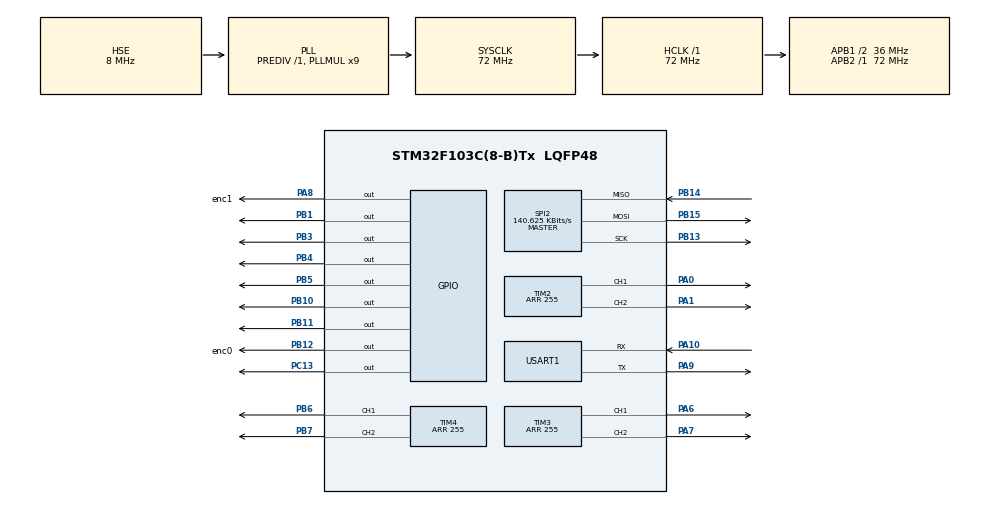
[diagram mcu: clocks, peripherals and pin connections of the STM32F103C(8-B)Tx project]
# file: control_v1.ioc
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Dma.Request0=USART1_RX
Dma.Request1=USART1_TX
Dma.USART1_RX.0.Direction=DMA_PERIPH_TO_MEMORY
Dma.USART1_RX.0.Instance=DMA1_Channel5
Dma.USART1_RX.0.MemDataAlignment=DMA_MDATAALIGN_BYTE
Dma.USART1_RX.0.MemInc=DMA_MINC_ENABLE
Dma.USART1_RX.0.Mode=DMA_CIRCULAR
Dma.USART1_RX.0.PeriphDataAlignment=DMA_PDATAALIGN_BYTE
Dma.USART1_RX.0.PeriphInc=DMA_PINC_DISABLE
Dma.USART1_RX.0.Priority=DMA_PRIORITY_LOW
Dma.USART1_TX.1.Direction=DMA_MEMORY_TO_PERIPH
Dma.USART1_TX.1.Instance=DMA1_Channel4
Dma.USART1_TX.1.MemDataAlignment=DMA_MDATAALIGN_BYTE
Dma.USART1_TX.1.MemInc=DMA_MINC_ENABLE
Dma.USART1_TX.1.Mode=DMA_CIRCULAR
Dma.USART1_TX.1.PeriphDataAlignment=DMA_PDATAALIGN_BYTE
Dma.USART1_TX.1.PeriphInc=DMA_PINC_DISABLE
Dma.USART1_TX.1.Priority=DMA_PRIORITY_LOW
Mcu.Family=STM32F1
Mcu.Name=STM32F103C(8-B)Tx
Mcu.Package=LQFP48
NVIC.DMA1_Channel4_IRQn=true\:0\:0\:false\:false\:true\:false\:true\:true
NVIC.DMA1_Channel5_IRQn=true\:0\:0\:false\:false\:true\:false\:true\:true
NVIC.PriorityGroup=NVIC_PRIORITYGROUP_4
NVIC.USART1_IRQn=true\:0\:0\:false\:false\:true\:true\:true\:true
PA0-WKUP.Signal=S_TIM2_CH1_ETR
PA1.Signal=S_TIM2_CH2
PA10.Mode=Asynchronous
PA10.Signal=USART1_RX
PA13.Mode=Serial_Wire
PA13.Signal=SYS_JTMS-SWDIO
PA14.Mode=Serial_Wire
PA14.Signal=SYS_JTCK-SWCLK
PA6.Signal=S_TIM3_CH1
PA7.Signal=S_TIM3_CH2
PA8.GPIO_Label=enc1
PA8.Signal=GPIO_Output
PA9.Mode=Asynchronous
PA9.Signal=USART1_TX
PB1.Signal=GPIO_Output
PB10.Signal=GPIO_Output
PB11.Signal=GPIO_Output
PB12.GPIO_Label=enc0
PB12.Signal=GPIO_Output
PB13.Mode=Full_Duplex_Master
PB13.Signal=SPI2_SCK
PB14.Mode=Full_Duplex_Master
PB14.Signal=SPI2_MISO
PB15.Mode=Full_Duplex_Master
PB15.Signal=SPI2_MOSI
PB3.Signal=GPIO_Output
PB4.Signal=GPIO_Output
PB5.Signal=GPIO_Output
PB6.Signal=S_TIM4_CH1
PB7.Signal=S_TIM4_CH2
PC13-TAMPER-RTC.Signal=GPIO_Output
PD0-OSC_IN.Mode=HSE-External-Oscillator
PD0-OSC_IN.Signal=RCC_OSC_IN
PD1-OSC_OUT.Mode=HSE-External-Oscillator
PD1-OSC_OUT.Signal=RCC_OSC_OUT
ProjectManager.HeapSize=0x200
ProjectManager.StackSize=0x400
ProjectManager.TargetToolchain=STM32CubeIDE
RCC.AHBFreq_Value=72000000
RCC.APB1CLKDivider=RCC_HCLK_DIV2
RCC.APB1Freq_Value=36000000
RCC.APB1TimFreq_Value=72000000
RCC.APB2Freq_Value=72000000
RCC.APB2TimFreq_Value=72000000
RCC.HCLKFreq_Value=72000000
RCC.PLLMUL=RCC_PLL_MUL9
RCC.PLLSourceVirtual=RCC_PLLSOURCE_HSE
RCC.SYSCLKFreq_VALUE=72000000
RCC.SYSCLKSource=RCC_SYSCLKSOURCE_PLLCLK
RCC.USBFreq_Value=72000000
SH.S_TIM2_CH1_ETR.0=TIM2_CH1,PWM Generation1 CH1
SH.S_TIM2_CH2.0=TIM2_CH2,PWM Generation2 CH2
SH.S_TIM3_CH1.0=TIM3_CH1,PWM Generation1 CH1
SH.S_TIM3_CH2.0=TIM3_CH2,PWM Generation2 CH2
SH.S_TIM4_CH1.0=TIM4_CH1,PWM Generation1 CH1
SH.S_TIM4_CH2.0=TIM4_CH2,PWM Generation2 CH2
SPI2.BaudRatePrescaler=SPI_BAUDRATEPRESCALER_256
SPI2.CalculateBaudRate=140.625 KBits/s
SPI2.DataSize=SPI_DATASIZE_8BIT
SPI2.Direction=SPI_DIRECTION_2LINES
SPI2.Mode=SPI_MODE_MASTER
SPI2.VirtualType=VM_MASTER
TIM2.Channel-PWM\ Generation1\ CH1=TIM_CHANNEL_1
TIM2.Channel-PWM\ Generation2\ CH2=TIM_CHANNEL_2
TIM2.Period=255
TIM3.Channel-PWM\ Generation1\ CH1=TIM_CHANNEL_1
TIM3.Channel-PWM\ Generation2\ CH2=TIM_CHANNEL_2
TIM3.Period=255
TIM4.Channel-PWM\ Generation1\ CH1=TIM_CHANNEL_1
TIM4.Channel-PWM\ Generation2\ CH2=TIM_CHANNEL_2
TIM4.Period=255
USART1.VirtualMode=VM_ASYNC
VP_TIM2_VS_ClockSourceINT.Mode=Internal
VP_TIM3_VS_ClockSourceINT.Mode=Internal
VP_TIM4_VS_ClockSourceINT.Mode=Internal
board=custom

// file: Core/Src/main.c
/* USER CODE BEGIN Header */
/**
  ******************************************************************************
  * @file           : main.c
  * @brief          : Main program body
  ******************************************************************************
  * @attention
  *
  * Copyright (c) 2026 STMicroelectronics.
  * All rights reserved.
  *
  * This software is licensed under terms that can be found in the LICENSE file
  * in the root directory of this software component.
  * If no LICENSE file comes with this software, it is provided AS-IS.
  *
  ******************************************************************************
  */
/* USER CODE END Header */
#include "main.h"

/* USER CODE BEGIN Includes */
#include <stdbool.h>

/* USER CODE END Includes */

SPI_HandleTypeDef hspi2;

TIM_HandleTypeDef htim2;
TIM_HandleTypeDef htim3;
TIM_HandleTypeDef htim4;

UART_HandleTypeDef huart1;
DMA_HandleTypeDef hdma_usart1_rx;
DMA_HandleTypeDef hdma_usart1_tx;

/* USER CODE BEGIN PV */
volatile uint8_t enc0Buffer[6] = {0};
volatile uint8_t enc1Buffer[6] = {0};

volatile uint8_t SPI_rxBuffer[6] = {0};

uint8_t dummy = 0xFF;

volatile uint8_t UART1_rxBuffer[4] = {0};

/* USER CODE END PV */

void SystemClock_Config(void);
static void MX_GPIO_Init(void);
static void MX_DMA_Init(void);
static void MX_SPI2_Init(void);
static void MX_TIM2_Init(void);
static void MX_TIM3_Init(void);
static void MX_TIM4_Init(void);
static void MX_USART1_UART_Init(void);

/* USER CODE BEGIN 0 */
void setMotor(uint8_t joystick[2]) {
    int x = (int)joystick[0] - 127;
    int y = (int)joystick[1] - 127;

    int speed;

    if (abs(y) > abs(x)) {
        // forward / backward
        speed = 2 * abs(y);

        if (y > 0) {
            // FORWARD
            HAL_GPIO_WritePin(GPIOB, GPIO_PIN_3, GPIO_PIN_RESET);
            HAL_GPIO_WritePin(GPIOB, GPIO_PIN_4, GPIO_PIN_RESET);
            HAL_GPIO_WritePin(GPIOB, GPIO_PIN_5, GPIO_PIN_RESET);

            HAL_GPIO_WritePin(GPIOB, GPIO_PIN_1, GPIO_PIN_RESET);
            HAL_GPIO_WritePin(GPIOB, GPIO_PIN_10, GPIO_PIN_RESET);
            HAL_GPIO_WritePin(GPIOB, GPIO_PIN_11, GPIO_PIN_RESET);
        } else {
            // BACKWARD
            HAL_GPIO_WritePin(GPIOB, GPIO_PIN_3, GPIO_PIN_SET);
            HAL_GPIO_WritePin(GPIOB, GPIO_PIN_4, GPIO_PIN_SET);
            HAL_GPIO_WritePin(GPIOB, GPIO_PIN_5, GPIO_PIN_SET);

            HAL_GPIO_WritePin(GPIOB, GPIO_PIN_1, GPIO_PIN_SET);
            HAL_GPIO_WritePin(GPIOB, GPIO_PIN_10, GPIO_PIN_SET);
            HAL_GPIO_WritePin(GPIOB, GPIO_PIN_11, GPIO_PIN_SET);
        }

    } else if (abs(x) > abs(y)) {
        // rotation
        speed = 2 * abs(x);

        if (x > 0) {
            // rotate right
            HAL_GPIO_WritePin(GPIOB, GPIO_PIN_3, GPIO_PIN_RESET);
            HAL_GPIO_WritePin(GPIOB, GPIO_PIN_4, GPIO_PIN_RESET);
            HAL_GPIO_WritePin(GPIOB, GPIO_PIN_5, GPIO_PIN_RESET);

            HAL_GPIO_WritePin(GPIOB, GPIO_PIN_1, GPIO_PIN_SET);
            HAL_GPIO_WritePin(GPIOB, GPIO_PIN_10, GPIO_PIN_SET);
            HAL_GPIO_WritePin(GPIOB, GPIO_PIN_11, GPIO_PIN_SET);
        } else {
            // rotate left
            HAL_GPIO_WritePin(GPIOB, GPIO_PIN_3, GPIO_PIN_SET);
            HAL_GPIO_WritePin(GPIOB, GPIO_PIN_4, GPIO_PIN_SET);
            HAL_GPIO_WritePin(GPIOB, GPIO_PIN_5, GPIO_PIN_SET);

            HAL_GPIO_WritePin(GPIOB, GPIO_PIN_1, GPIO_PIN_RESET);
            HAL_GPIO_WritePin(GPIOB, GPIO_PIN_10, GPIO_PIN_RESET);
            HAL_GPIO_WritePin(GPIOB, GPIO_PIN_11, GPIO_PIN_RESET);
        }

    } else {
        speed = 0;
    }

    // Left motors (CCR1)
    TIM2->CCR1 = speed;
    TIM3->CCR1 = speed;
    TIM4->CCR1 = speed;

    // Right motors (CCR2)
    TIM2->CCR2 = speed;
    TIM3->CCR2 = speed;
    TIM4->CCR2 = speed;
}

volatile uint8_t left_pwm;  // 0–255
volatile uint8_t left_dir;  // 0 = forward, 1 = backward
volatile uint8_t right_pwm;  // 0–255
volatile uint8_t right_dir;  // 0 = forward, 1 = backward

void setMotor_direct(volatile uint8_t cmd[4]) {

    left_pwm  = cmd[0];  // 0–255
    left_dir  = cmd[1];  // 0 = forward, 1 = backward
    right_pwm = cmd[2];  // 0–255
    right_dir = cmd[3];  // 0 = forward, 1 = backward

    if (left_dir == 0) {
        HAL_GPIO_WritePin(GPIOB, GPIO_PIN_3, GPIO_PIN_RESET);
        HAL_GPIO_WritePin(GPIOB, GPIO_PIN_4, GPIO_PIN_RESET);
        HAL_GPIO_WritePin(GPIOB, GPIO_PIN_5, GPIO_PIN_RESET);
    } else {
        HAL_GPIO_WritePin(GPIOB, GPIO_PIN_3, GPIO_PIN_SET);
        HAL_GPIO_WritePin(GPIOB, GPIO_PIN_4, GPIO_PIN_SET);
        HAL_GPIO_WritePin(GPIOB, GPIO_PIN_5, GPIO_PIN_SET);
    }

    /* RIGHT SIDE DIRECTION (same as setMotor) */
    if (right_dir == 1) {
        HAL_GPIO_WritePin(GPIOB, GPIO_PIN_1, GPIO_PIN_RESET);
        HAL_GPIO_WritePin(GPIOB, GPIO_PIN_10, GPIO_PIN_RESET);
        HAL_GPIO_WritePin(GPIOB, GPIO_PIN_11, GPIO_PIN_RESET);
    } else {
        HAL_GPIO_WritePin(GPIOB, GPIO_PIN_1, GPIO_PIN_SET);
        HAL_GPIO_WritePin(GPIOB, GPIO_PIN_10, GPIO_PIN_SET);
        HAL_GPIO_WritePin(GPIOB, GPIO_PIN_11, GPIO_PIN_SET);
    }

    // Left motors (CCR1)
    TIM2->CCR1 = right_pwm;
    TIM3->CCR1 = right_pwm;
    TIM4->CCR1 = right_pwm;

    // Right motors (CCR2)
    TIM2->CCR2 = left_pwm;
    TIM3->CCR2 = left_pwm;
    TIM4->CCR2 = left_pwm;
}

bool encBuffer_flag = 0;

void HAL_SPI_TxRxCpltCallback(SPI_HandleTypeDef *hspi) {

	if (encBuffer_flag) {
		HAL_GPIO_WritePin(enc0_GPIO_Port, enc0_Pin, GPIO_PIN_RESET);
		memcpy(enc0Buffer, SPI_rxBuffer, sizeof(SPI_rxBuffer));
		HAL_GPIO_WritePin(enc0_GPIO_Port, enc0_GPIO_Port, GPIO_PIN_SET);
		encBuffer_flag = 0;
	} else {

		HAL_GPIO_WritePin(enc1_GPIO_Port, enc1_Pin, GPIO_PIN_RESET);
		memcpy(enc1Buffer, SPI_rxBuffer, sizeof(SPI_rxBuffer));
		HAL_GPIO_WritePin(enc1_GPIO_Port, enc1_GPIO_Port, GPIO_PIN_SET);
		encBuffer_flag = 1;
	}

	HAL_SPI_TransmitReceive_DMA(&hspi2, &dummy, SPI_rxBuffer, sizeof(SPI_rxBuffer));
}

/* USER CODE END 0 */

int main(void)
{

  /* MCU Configuration--------------------------------------------------------*/

  /* Reset of all peripherals, Initializes the Flash interface and the Systick. */
  HAL_Init();

  /* Configure the system clock */
  SystemClock_Config();

  /* Initialize all configured peripherals */
  MX_GPIO_Init();
  MX_DMA_Init();
  MX_SPI2_Init();
  MX_TIM2_Init();
  MX_TIM3_Init();
  MX_TIM4_Init();
  MX_USART1_UART_Init();
  /* USER CODE BEGIN 2 */
  HAL_UART_Receive_DMA(&huart1, UART1_rxBuffer, sizeof(UART1_rxBuffer));
  HAL_TIM_PWM_Start(&htim2, TIM_CHANNEL_1);
  HAL_TIM_PWM_Start(&htim2, TIM_CHANNEL_2);

  HAL_TIM_PWM_Start(&htim3, TIM_CHANNEL_1);
  HAL_TIM_PWM_Start(&htim3, TIM_CHANNEL_2);

  HAL_TIM_PWM_Start(&htim4, TIM_CHANNEL_1);
  HAL_TIM_PWM_Start(&htim4, TIM_CHANNEL_2);

//  HAL_GPIO_WritePin(enc0_GPIO_port, enc0_GPIO_pin, GPIO_PIN_RESET);
//  HAL_GPIO_WritePin(enc1_GPIO_port, enc1_GPIO_pin, GPIO_PIN_SET);

  HAL_GPIO_WritePin(GPIOC, GPIO_PIN_13, GPIO_PIN_RESET);

//  HAL_SPI_TxRxCpltCallback(&hspi2);

//  HAL_SPI_TransmitReceive_DMA(&hspi2, &dummy, SPI_rxBuffer, sizeof(SPI_rxBuffer));

  /* USER CODE END 2 */

  /* Infinite loop */
  while (1)
  {

    /* USER CODE BEGIN 3 */

	  setMotor_direct(UART1_rxBuffer);
  }
  /* USER CODE END 3 */
}

void SystemClock_Config(void)
{
  RCC_OscInitTypeDef RCC_OscInitStruct = {0};
  RCC_ClkInitTypeDef RCC_ClkInitStruct = {0};

  /** Initializes the RCC Oscillators according to the specified parameters
  * in the RCC_OscInitTypeDef structure.
  */
  RCC_OscInitStruct.OscillatorType = RCC_OSCILLATORTYPE_HSE;
  RCC_OscInitStruct.HSEState = RCC_HSE_ON;
  RCC_OscInitStruct.HSEPredivValue = RCC_HSE_PREDIV_DIV1;
  RCC_OscInitStruct.HSIState = RCC_HSI_ON;
  RCC_OscInitStruct.PLL.PLLState = RCC_PLL_ON;
  RCC_OscInitStruct.PLL.PLLSource = RCC_PLLSOURCE_HSE;
  RCC_OscInitStruct.PLL.PLLMUL = RCC_PLL_MUL9;
  if (HAL_RCC_OscConfig(&RCC_OscInitStruct) != HAL_OK)
  {
    Error_Handler();
  }

  /** Initializes the CPU, AHB and APB buses clocks
  */
  RCC_ClkInitStruct.ClockType = RCC_CLOCKTYPE_HCLK|RCC_CLOCKTYPE_SYSCLK
                              |RCC_CLOCKTYPE_PCLK1|RCC_CLOCKTYPE_PCLK2;
  RCC_ClkInitStruct.SYSCLKSource = RCC_SYSCLKSOURCE_PLLCLK;
  RCC_ClkInitStruct.AHBCLKDivider = RCC_SYSCLK_DIV1;
  RCC_ClkInitStruct.APB1CLKDivider = RCC_HCLK_DIV2;
  RCC_ClkInitStruct.APB2CLKDivider = RCC_HCLK_DIV1;

  if (HAL_RCC_ClockConfig(&RCC_ClkInitStruct, FLASH_LATENCY_2) != HAL_OK)
  {
    Error_Handler();
  }
}

static void MX_SPI2_Init(void)
{

  /* SPI2 parameter configuration*/
  hspi2.Instance = SPI2;
  hspi2.Init.Mode = SPI_MODE_MASTER;
  hspi2.Init.Direction = SPI_DIRECTION_2LINES;
  hspi2.Init.DataSize = SPI_DATASIZE_8BIT;
  hspi2.Init.CLKPolarity = SPI_POLARITY_LOW;
  hspi2.Init.CLKPhase = SPI_PHASE_1EDGE;
  hspi2.Init.NSS = SPI_NSS_SOFT;
  hspi2.Init.BaudRatePrescaler = SPI_BAUDRATEPRESCALER_256;
  hspi2.Init.FirstBit = SPI_FIRSTBIT_MSB;
  hspi2.Init.TIMode = SPI_TIMODE_DISABLE;
  hspi2.Init.CRCCalculation = SPI_CRCCALCULATION_DISABLE;
  hspi2.Init.CRCPolynomial = 10;
  if (HAL_SPI_Init(&hspi2) != HAL_OK)
  {
    Error_Handler();
  }

}

static void MX_TIM2_Init(void)
{

  TIM_ClockConfigTypeDef sClockSourceConfig = {0};
  TIM_MasterConfigTypeDef sMasterConfig = {0};
  TIM_OC_InitTypeDef sConfigOC = {0};

  htim2.Instance = TIM2;
  htim2.Init.Prescaler = 0;
  htim2.Init.CounterMode = TIM_COUNTERMODE_UP;
  htim2.Init.Period = 255;
  htim2.Init.ClockDivision = TIM_CLOCKDIVISION_DIV1;
  htim2.Init.AutoReloadPreload = TIM_AUTORELOAD_PRELOAD_DISABLE;
  if (HAL_TIM_Base_Init(&htim2) != HAL_OK)
  {
    Error_Handler();
  }
  sClockSourceConfig.ClockSource = TIM_CLOCKSOURCE_INTERNAL;
  if (HAL_TIM_ConfigClockSource(&htim2, &sClockSourceConfig) != HAL_OK)
  {
    Error_Handler();
  }
  if (HAL_TIM_PWM_Init(&htim2) != HAL_OK)
  {
    Error_Handler();
  }
  sMasterConfig.MasterOutputTrigger = TIM_TRGO_RESET;
  sMasterConfig.MasterSlaveMode = TIM_MASTERSLAVEMODE_DISABLE;
  if (HAL_TIMEx_MasterConfigSynchronization(&htim2, &sMasterConfig) != HAL_OK)
  {
    Error_Handler();
  }
  sConfigOC.OCMode = TIM_OCMODE_PWM1;
  sConfigOC.Pulse = 0;
  sConfigOC.OCPolarity = TIM_OCPOLARITY_HIGH;
  sConfigOC.OCFastMode = TIM_OCFAST_DISABLE;
  if (HAL_TIM_PWM_ConfigChannel(&htim2, &sConfigOC, TIM_CHANNEL_1) != HAL_OK)
  {
    Error_Handler();
  }
  if (HAL_TIM_PWM_ConfigChannel(&htim2, &sConfigOC, TIM_CHANNEL_2) != HAL_OK)
  {
    Error_Handler();
  }
  HAL_TIM_MspPostInit(&htim2);

}

static void MX_TIM3_Init(void)
{

  TIM_ClockConfigTypeDef sClockSourceConfig = {0};
  TIM_MasterConfigTypeDef sMasterConfig = {0};
  TIM_OC_InitTypeDef sConfigOC = {0};

  htim3.Instance = TIM3;
  htim3.Init.Prescaler = 0;
  htim3.Init.CounterMode = TIM_COUNTERMODE_UP;
  htim3.Init.Period = 255;
  htim3.Init.ClockDivision = TIM_CLOCKDIVISION_DIV1;
  htim3.Init.AutoReloadPreload = TIM_AUTORELOAD_PRELOAD_DISABLE;
  if (HAL_TIM_Base_Init(&htim3) != HAL_OK)
  {
    Error_Handler();
  }
  sClockSourceConfig.ClockSource = TIM_CLOCKSOURCE_INTERNAL;
  if (HAL_TIM_ConfigClockSource(&htim3, &sClockSourceConfig) != HAL_OK)
  {
    Error_Handler();
  }
  if (HAL_TIM_PWM_Init(&htim3) != HAL_OK)
  {
    Error_Handler();
  }
  sMasterConfig.MasterOutputTrigger = TIM_TRGO_RESET;
  sMasterConfig.MasterSlaveMode = TIM_MASTERSLAVEMODE_DISABLE;
  if (HAL_TIMEx_MasterConfigSynchronization(&htim3, &sMasterConfig) != HAL_OK)
  {
    Error_Handler();
  }
  sConfigOC.OCMode = TIM_OCMODE_PWM1;
  sConfigOC.Pulse = 0;
  sConfigOC.OCPolarity = TIM_OCPOLARITY_HIGH;
  sConfigOC.OCFastMode = TIM_OCFAST_DISABLE;
  if (HAL_TIM_PWM_ConfigChannel(&htim3, &sConfigOC, TIM_CHANNEL_1) != HAL_OK)
  {
    Error_Handler();
  }
  if (HAL_TIM_PWM_ConfigChannel(&htim3, &sConfigOC, TIM_CHANNEL_2) != HAL_OK)
  {
    Error_Handler();
  }
  HAL_TIM_MspPostInit(&htim3);

}

static void MX_TIM4_Init(void)
{

  TIM_ClockConfigTypeDef sClockSourceConfig = {0};
  TIM_MasterConfigTypeDef sMasterConfig = {0};
  TIM_OC_InitTypeDef sConfigOC = {0};

  htim4.Instance = TIM4;
  htim4.Init.Prescaler = 0;
  htim4.Init.CounterMode = TIM_COUNTERMODE_UP;
  htim4.Init.Period = 255;
  htim4.Init.ClockDivision = TIM_CLOCKDIVISION_DIV1;
  htim4.Init.AutoReloadPreload = TIM_AUTORELOAD_PRELOAD_DISABLE;
  if (HAL_TIM_Base_Init(&htim4) != HAL_OK)
  {
    Error_Handler();
  }
  sClockSourceConfig.ClockSource = TIM_CLOCKSOURCE_INTERNAL;
  if (HAL_TIM_ConfigClockSource(&htim4, &sClockSourceConfig) != HAL_OK)
  {
    Error_Handler();
  }
  if (HAL_TIM_PWM_Init(&htim4) != HAL_OK)
  {
    Error_Handler();
  }
  sMasterConfig.MasterOutputTrigger = TIM_TRGO_RESET;
  sMasterConfig.MasterSlaveMode = TIM_MASTERSLAVEMODE_DISABLE;
  if (HAL_TIMEx_MasterConfigSynchronization(&htim4, &sMasterConfig) != HAL_OK)
  {
    Error_Handler();
  }
  sConfigOC.OCMode = TIM_OCMODE_PWM1;
  sConfigOC.Pulse = 0;
  sConfigOC.OCPolarity = TIM_OCPOLARITY_HIGH;
  sConfigOC.OCFastMode = TIM_OCFAST_DISABLE;
  if (HAL_TIM_PWM_ConfigChannel(&htim4, &sConfigOC, TIM_CHANNEL_1) != HAL_OK)
  {
    Error_Handler();
  }
  if (HAL_TIM_PWM_ConfigChannel(&htim4, &sConfigOC, TIM_CHANNEL_2) != HAL_OK)
  {
    Error_Handler();
  }
  HAL_TIM_MspPostInit(&htim4);

}

static void MX_USART1_UART_Init(void)
{

  huart1.Instance = USART1;
  huart1.Init.BaudRate = 115200;
  huart1.Init.WordLength = UART_WORDLENGTH_8B;
  huart1.Init.StopBits = UART_STOPBITS_1;
  huart1.Init.Parity = UART_PARITY_NONE;
  huart1.Init.Mode = UART_MODE_TX_RX;
  huart1.Init.HwFlowCtl = UART_HWCONTROL_NONE;
  huart1.Init.OverSampling = UART_OVERSAMPLING_16;
  if (HAL_UART_Init(&huart1) != HAL_OK)
  {
    Error_Handler();
  }

}

static void MX_DMA_Init(void)
{

  /* DMA controller clock enable */
  __HAL_RCC_DMA1_CLK_ENABLE();

  /* DMA interrupt init */
  /* DMA1_Channel4_IRQn interrupt configuration */
  HAL_NVIC_SetPriority(DMA1_Channel4_IRQn, 0, 0);
  HAL_NVIC_EnableIRQ(DMA1_Channel4_IRQn);
  /* DMA1_Channel5_IRQn interrupt configuration */
  HAL_NVIC_SetPriority(DMA1_Channel5_IRQn, 0, 0);
  HAL_NVIC_EnableIRQ(DMA1_Channel5_IRQn);

}

static void MX_GPIO_Init(void)
{
  GPIO_InitTypeDef GPIO_InitStruct = {0};

  /* GPIO Ports Clock Enable */
  __HAL_RCC_GPIOC_CLK_ENABLE();
  __HAL_RCC_GPIOD_CLK_ENABLE();
  __HAL_RCC_GPIOA_CLK_ENABLE();
  __HAL_RCC_GPIOB_CLK_ENABLE();

  /*Configure GPIO pin Output Level */
  HAL_GPIO_WritePin(GPIOC, GPIO_PIN_13, GPIO_PIN_RESET);

  /*Configure GPIO pin Output Level */
  HAL_GPIO_WritePin(GPIOB, GPIO_PIN_1|GPIO_PIN_10|GPIO_PIN_11|enc0_Pin
                          |GPIO_PIN_3|GPIO_PIN_4|GPIO_PIN_5, GPIO_PIN_RESET);

  /*Configure GPIO pin Output Level */
  HAL_GPIO_WritePin(enc1_GPIO_Port, enc1_Pin, GPIO_PIN_RESET);

  /*Configure GPIO pin : PC13 */
  GPIO_InitStruct.Pin = GPIO_PIN_13;
  GPIO_InitStruct.Mode = GPIO_MODE_OUTPUT_PP;
  GPIO_InitStruct.Pull = GPIO_NOPULL;
  GPIO_InitStruct.Speed = GPIO_SPEED_FREQ_LOW;
  HAL_GPIO_Init(GPIOC, &GPIO_InitStruct);

  /*Configure GPIO pins : PB1 PB10 PB11 enc0_Pin
                           PB3 PB4 PB5 */
  GPIO_InitStruct.Pin = GPIO_PIN_1|GPIO_PIN_10|GPIO_PIN_11|enc0_Pin
                          |GPIO_PIN_3|GPIO_PIN_4|GPIO_PIN_5;
  GPIO_InitStruct.Mode = GPIO_MODE_OUTPUT_PP;
  GPIO_InitStruct.Pull = GPIO_NOPULL;
  GPIO_InitStruct.Speed = GPIO_SPEED_FREQ_LOW;
  HAL_GPIO_Init(GPIOB, &GPIO_InitStruct);

  /*Configure GPIO pin : enc1_Pin */
  GPIO_InitStruct.Pin = enc1_Pin;
  GPIO_InitStruct.Mode = GPIO_MODE_OUTPUT_PP;
  GPIO_InitStruct.Pull = GPIO_NOPULL;
  GPIO_InitStruct.Speed = GPIO_SPEED_FREQ_LOW;
  HAL_GPIO_Init(enc1_GPIO_Port, &GPIO_InitStruct);

}

void Error_Handler(void)
{
  __disable_irq();
  while (1)
  {
  }
}
